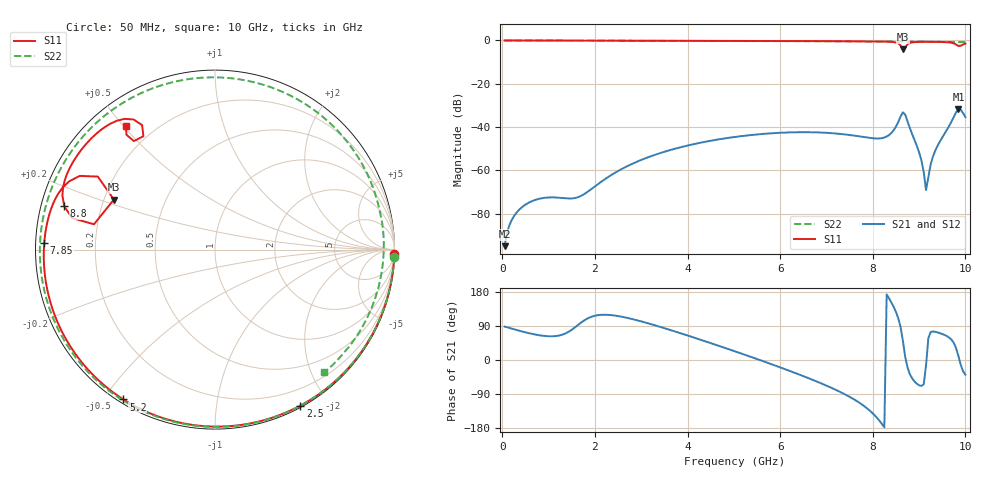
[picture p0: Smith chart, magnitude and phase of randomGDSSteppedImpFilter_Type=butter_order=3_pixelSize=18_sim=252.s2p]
! freq	dB(S11)	phase(S11)	dB(S12)	phase(S12)
!  dB(S21)	phase(S21)	dB(S22)	phase(S22)
!S-par simulation data
#  GHz  S  DB  R 50
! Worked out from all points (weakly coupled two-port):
!   200 points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, 50 MHz to 10 GHz, reference 50 ohm
!   highest |S21| = -31.73 dB at 9.85 GHz (marker M1); lowest = -94.9 dB at 50 MHz (marker M2)
!   lowest |S11| = -4.0 dB at 8.65 GHz (marker M3), VSWR 4.38, Z = 12 + j11.1 ohm
!   |S11| at or under -10 dB: nowhere
!   |S22| runs from -0.8 to 0.0 dB; largest |S21 - S12| = 0
!   S11 on the Smith chart (normalised r, x): 50 MHz: 0, -90; 2.5 GHz: 0.02, -1.69; 5.2 GHz: 0.01, -0.56; 7.85 GHz: 0.02, +0.02; 8.8 GHz: 0.07, +0.14; 10 GHz: 0.10, +0.51
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0.05  -0.00 -1.3  -94.93 88.3  -94.93 88.3  -0.00 -2.4
0.95  -0.03 -23.8  -72.53 63.0  -72.53 63.0  -0.06 -43.8
1.75  -0.06 -43.5  -71.14 102.9  -71.14 102.9  -0.09 -78.4
2.5  -0.08 -61.3  -60.24 116.0  -60.24 116.0  -0.13 -108.4
3.4  -0.11 -82.0  -52.04 87.8  -52.04 87.8  -0.16 -142.0
4.25  -0.14 -100.8  -47.32 54.7  -47.32 54.7  -0.20 -172.5
5.05  -0.18 -118.2  -44.45 21.8  -44.45 21.8  -0.25 158.7
5.2  -0.19 -121.4  -44.05 15.4  -44.05 15.4  -0.26 153.1
6.7  -0.30 -154.3  -42.37 -52.3  -42.37 -52.3  -0.35 94.1
7.85  -0.43 177.9  -44.73 -125.0  -44.73 -125.0  -0.43 44.2
8.35  -0.60 162.4  -43.66 162.9  -43.66 162.9  -0.48 21.9
8.55  -1.33 151.4  -37.66 110.5  -37.66 110.5  -0.51 13.1
8.65  -4.04 153.7  -33.18 50.7  -33.18 50.7  -0.51 8.7
8.7  -3.24 168.2  -34.20 8.8  -34.20 8.8  -0.51 6.5
8.8  -1.16 163.8  -40.38 -37.0  -40.38 -37.0  -0.53 2.1
9.05  -0.65 151.1  -55.28 -68.5  -55.28 -68.5  -0.57 -8.8
9.15  -0.63 147.3  -69.06 -14.4  -69.06 -14.4  -0.59 -13.1
9.25  -0.63 143.6  -57.20 73.8  -57.20 73.8  -0.61 -17.4
9.35  -0.65 139.8  -50.78 74.4  -50.78 74.4  -0.63 -21.6
9.7  -1.05 124.7  -37.40 53.6  -37.40 53.6  -0.71 -36.2
9.85  -2.54 122.3  -31.73 10.0  -31.73 10.0  -0.73 -42.2
10  -1.43 125.8  -35.34 -38.7  -35.34 -38.7  -0.76 -48.3
